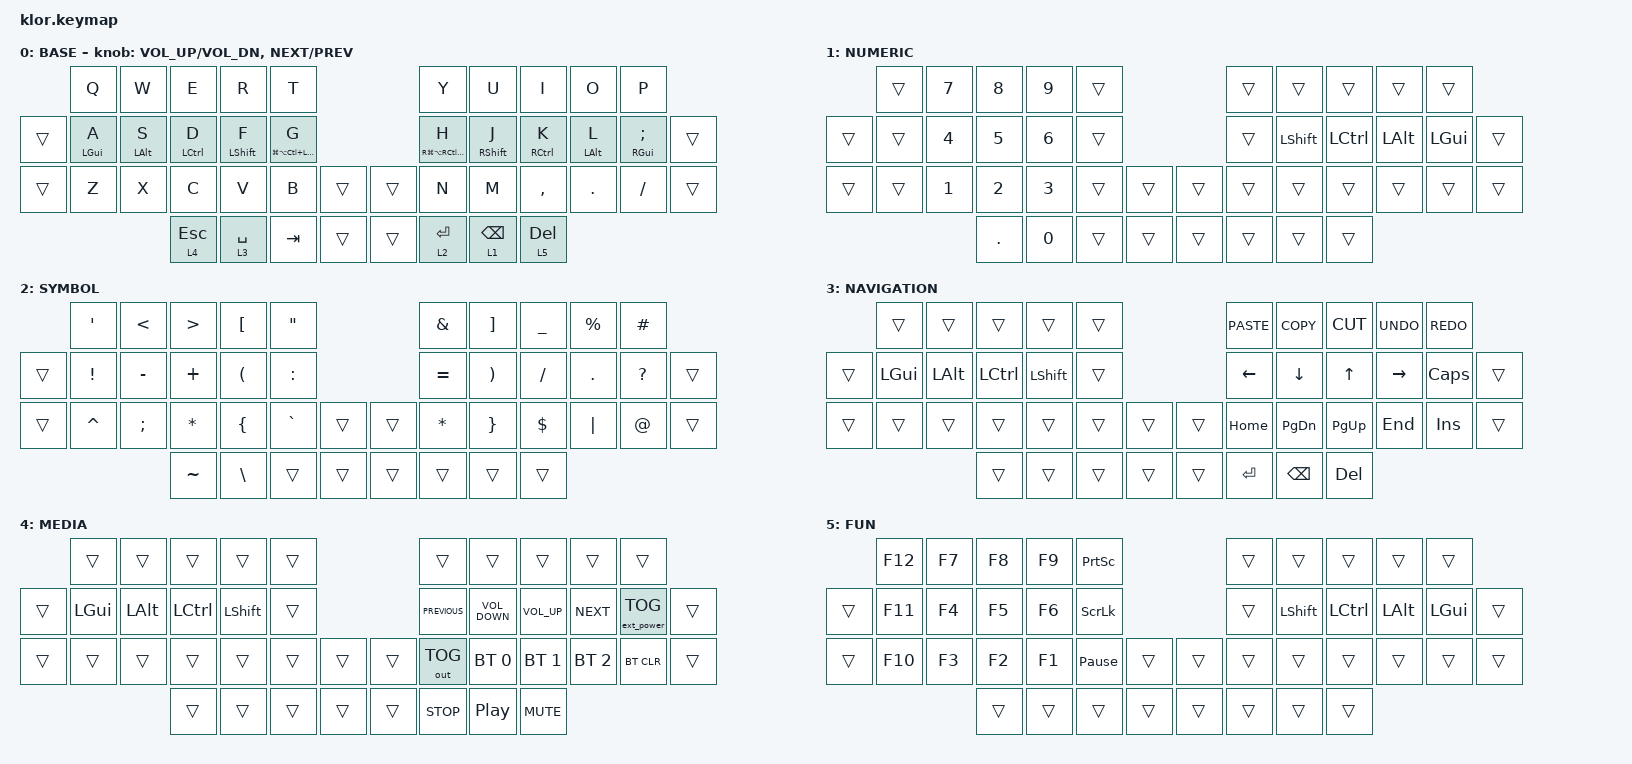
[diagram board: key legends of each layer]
//                               █         █    █            ▄▄▄▀▀▀▀▀▀▄▄▄        █▀▀▀▀▀▀▀▀▀▀█
//                               █        █     █          ▄▀            ▀▄      █          █
//                               █       █      █        ▄▀                ▀▄    █          █
//                               █      █       █        █                  █    █          █
//                               █     █        █       █                    █   █          █
//                               █    █         █       █                    █   █▄▄▄▄▄▄▄▄▄▄█
//                               █   █ █        █       █                    █   █      █
//                               █  █   █       █        █                  █    █       █
//                               █ █     █      █        ▀▄                ▄▀    █        █
//                               ██       █     █          ▀▄            ▄▀      █         █
//                               █         █    █▄▄▄▄▄▄▄▄    ▀▀▀▄▄▄▄▄▄▀▀▀        █          █
//
// ▄▄▄▄▄▄▄▄▄▄▄▄▄▄▄▄▄▄▄▄▄▄▄▄▄▄▄▄▄▄▄▄▄▄▄▄▄▄▄▄▄▄▄▄▄▄▄▄▄▄▄▄▄▄▄▄▄▄▄▄▄▄▄▄▄▄▄▄▄▄▄▄▄▄▄▄▄▄▄▄▄▄▄▄▄▄▄▄▄▄▄▄▄▄▄▄▄▄▄▄▄▄▄▄▄▄▄▄▄▄▄▄▄▄▄▄▄▄▄▄▄▄▄▄▄
// Urob helpers

#include <zmk-helpers/key-labels/klor.h>
#include <behaviors.dtsi>
#include <dt-bindings/zmk/bt.h>
#include <dt-bindings/zmk/ext_power.h>
#include <dt-bindings/zmk/keys.h>
#include <dt-bindings/zmk/outputs.h>

/* Timeless homerow mods */
// https://github.com/urob/zmk-config/tree/main#timeless-homerow-mods

#define KEYS_L LT0 LT1 LT2 LT3 LT4 LM0 LM1 LM2 LM3 LM4 LM5 LB0 LB1 LB2 LB3 LB4 LB5  // Left hand
#define KEYS_R RT0 RT1 RT2 RT3 RT4 RM0 RM1 RM2 RM3 RM4 RM5 RB0 RB1 RB2 RB3 RB4 RB5  // Right hand
#define THUMBS LH3 LH2 LH1 LH0 RH0 RH1 RH2 RH3 // Thumbs

#define BASE       0
#define NUMERIC    1
#define SYMBOL     2
#define NAVIGATION 3
#define MEDIA      4
#define FUN        5

/ {
    combos {
        compatible = "zmk,combos";

        right_alt_right {
            bindings = <&kp RIGHT_ALT>;
            key-positions = <19 17>;
            timeout-ms = <100>;
            layers = <0>;
        };

        right_alt_left {
            bindings = <&kp RIGHT_ALT>;
            key-positions = <14 12>;
            timeout-ms = <100>;
            layers = <0>;
        };

        caps_lock {
            bindings = <&caps_word>;
            key-positions = <36 43>;
            timeout-ms = <100>;
            layers = <0>;
        };
    };

    behaviors {
        hml: homerow_mods_left {
            compatible = "zmk,behavior-hold-tap";
            label = "Homerow Mods - Left Hand";
            #binding-cells = <2>;
            flavor = "balanced";
            require-prior-idle-ms = <125>;
            tapping-term-ms = <280>;
            bindings = <&kp>, <&kp>;

            hold-trigger-key-positions = <KEYS_R THUMBS>;
            hold-trigger-on-release;
        };

        hmr: homerow_mods_right {
            compatible = "zmk,behavior-hold-tap";
            label = "Homerow Mods - Right Hand";
            #binding-cells = <2>;
            flavor = "balanced";
            require-prior-idle-ms  = <125>;
            tapping-term-ms = <280>;
            bindings = <&kp>, <&kp>;

            hold-trigger-key-positions = <KEYS_L THUMBS>;
            hold-trigger-on-release;
        };
    };

    keymap {
        compatible = "zmk,keymap";

        base {
            label = "BASE";

            bindings = <
              &kp  Q        &kp  W          &kp  E          &kp  R           &kp                    T                          &kp                    Y         &kp  U               &kp  I          &kp  O          &kp  P
    &trans    &hml LGUI A   &hml LALT S     &hml LCTRL D    &hml LSHFT F     &hml LG(LA(LC(LSHFT))) G                          &hmr RG(LA(RC(RSHFT))) H         &hmr RSHFT J         &hmr RCTRL K    &hmr LALT L     &hmr RGUI SEMICOLON  &trans
    &trans    &kp  Z        &kp  X          &kp  C          &kp  V           &kp                    B     &trans     &trans    &kp                    N         &kp  M               &kp  COMMA      &kp  PERIOD     &kp  SLASH           &trans
                                            &lt  4 ESCAPE   &lt  3 SPACE     &kp                    TAB   &trans     &trans    &lt                    2 RETURN  &lt  1 BACKSPACE     &lt  5 DELETE
            >;

            sensor-bindings = <&inc_dec_kp C_VOL_UP C_VOL_DN &inc_dec_kp C_NEXT C_PREV>;
        };

        numeric {
            label = "NUMERIC";

            bindings = <
        &trans      &kp NUMBER_7  &kp NUMBER_8  &kp NUMBER_9  &trans                  &trans  &trans          &trans            &trans        &trans
&trans  &trans      &kp NUMBER_4  &kp NUMBER_5  &kp NUMBER_6  &trans                  &trans  &kp LEFT_SHIFT  &kp LEFT_CONTROL  &kp LEFT_ALT  &kp LEFT_GUI  &trans
&trans  &trans      &kp NUMBER_1  &kp NUMBER_2  &kp NUMBER_3  &trans  &trans  &trans  &trans  &trans          &trans            &trans        &trans        &trans
                                  &kp PERIOD    &kp N0        &trans  &trans  &trans  &trans  &trans          &trans
            >;
        };

        symbol {
            bindings = <
        &kp SINGLE_QUOTE  &kp LESS_THAN  &kp GREATER_THAN  &kp LEFT_BRACKET      &kp DOUBLE_QUOTES                  &kp AMPERSAND  &kp RIGHT_BRACKET      &kp UNDERSCORE  &kp PERCENT  &kp HASH
&trans  &kp EXCLAMATION   &kp MINUS      &kp PLUS          &kp LEFT_PARENTHESIS  &kp COLON                          &kp EQUAL      &kp RIGHT_PARENTHESIS  &kp SLASH       &kp PERIOD   &kp QUESTION  &trans
&trans  &kp CARET         &kp SEMICOLON  &kp ASTERISK      &kp LEFT_BRACE        &kp GRAVE          &trans  &trans  &kp ASTERISK   &kp RIGHT_BRACE        &kp DOLLAR      &kp PIPE     &kp AT        &trans
                                         &kp TILDE         &kp BACKSLASH         &trans             &trans  &trans  &trans         &trans                 &trans
            >;

            label = "SYMBOL";
        };

        navigation {
            bindings = <
        &trans        &trans        &trans            &trans          &trans                        &kp K_PASTE &kp K_COPY     &kp K_CUT    &kp K_UNDO  &kp K_REDO
&trans  &kp LEFT_GUI  &kp LEFT_ALT  &kp LEFT_CONTROL  &kp LEFT_SHIFT  &trans                        &kp LEFT    &kp DOWN       &kp UP       &kp RIGHT   &kp CAPS    &trans
&trans  &trans        &trans        &trans            &trans          &trans    &trans    &trans    &kp HOME    &kp PAGE_DOWN  &kp PAGE_UP  &kp END     &kp INSERT  &trans
                                    &trans            &trans          &trans    &trans    &trans    &kp RET     &kp BSPC       &kp DELETE
            >;

            label = "NAVIGATION";
        };

        media {
            bindings = <
        &trans        &trans        &trans            &trans          &trans                        &trans          &trans             &trans           &trans        &trans
&trans  &kp LEFT_GUI  &kp LEFT_ALT  &kp LEFT_CONTROL  &kp LEFT_SHIFT  &trans                        &kp C_PREVIOUS  &kp C_VOLUME_DOWN  &kp C_VOLUME_UP  &kp C_NEXT    &ext_power EP_TOG  &trans
&trans  &trans        &trans        &trans            &trans          &trans     &trans    &trans   &out OUT_TOG    &bt BT_SEL 0       &bt BT_SEL 1     &bt BT_SEL 2  &bt BT_CLR         &trans
                                    &trans            &trans          &trans     &trans    &trans   &kp C_STOP      &kp C_PP           &kp C_MUTE
            >;

            label = "MEDIA";
        };

        function {
            bindings = <
        &kp F12  &kp F7  &kp F8  &kp F9  &kp PRINTSCREEN                    &trans  &trans     &trans     &trans    &trans
&trans  &kp F11  &kp F4  &kp F5  &kp F6  &kp SCROLLLOCK                     &trans  &kp LSHFT  &kp LCTRL  &kp LALT  &kp LGUI  &trans
&trans  &kp F10  &kp F3  &kp F2  &kp F1  &kp PAUSE_BREAK    &trans  &trans  &trans  &trans     &trans     &trans    &trans    &trans
                         &trans  &trans  &trans             &trans  &trans  &trans  &trans     &trans
            >;

            label = "FUN";
        };
    };
};
